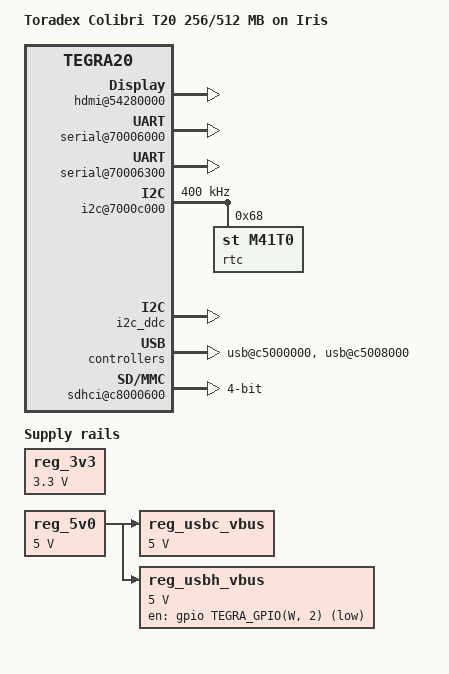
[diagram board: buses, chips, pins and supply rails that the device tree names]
// SPDX-License-Identifier: GPL-2.0
/dts-v1/;

#include "tegra20-colibri.dtsi"

/ {
	model = "Toradex Colibri T20 256/512 MB on Iris";
	compatible = "toradex,iris", "toradex,colibri_t20-512", "nvidia,tegra20";

	aliases {
		rtc0 = "/i2c@7000c000/rtc@68";
		rtc1 = "/i2c@7000d000/tps6586x@34";
		rtc2 = "/rtc@7000e000";
		serial0 = &uarta;
		serial1 = &uartd;
		serial2 = &uartb;
	};

	chosen {
		stdout-path = "serial0:115200n8";
	};

	host1x@50000000 {
		hdmi@54280000 {
			status = "okay";
			hdmi-supply = <&reg_5v0>;
		};
	};

	pinmux@70000014 {
		state_default: pinmux {
			hdint {
				nvidia,tristate = <TEGRA_PIN_DISABLE>;
			};

			i2cddc {
				nvidia,tristate = <TEGRA_PIN_DISABLE>;
			};

			sdio4 {
				nvidia,tristate = <TEGRA_PIN_DISABLE>;
			};

			uarta {
				nvidia,tristate = <TEGRA_PIN_DISABLE>;
			};

			uartd {
				nvidia,tristate = <TEGRA_PIN_DISABLE>;
			};
		};
	};

	serial@70006000 {
		status = "okay";
	};

	serial@70006300 {
		status = "okay";
	};

	/*
	 * GEN1_I2C: I2C_SDA/SCL on SODIMM pin 194/196 (e.g. RTC on carrier
	 * board)
	 */
	i2c@7000c000 {
		status = "okay";
		clock-frequency = <400000>;

		/* M41T0M6 real time clock on carrier board */
		rtc@68 {
			compatible = "st,m41t0";
			reg = <0x68>;
		};
	};

	/* GEN2_I2C: unused */

	/* CAM_I2C (I2C3): unused */

	/* DDC_CLOCK/DATA on X3 pin 15/16 (e.g. display EDID) */
	i2c_ddc: i2c@7000c400 {
		status = "okay";
	};

	usb@c5000000 {
		status = "okay";
	};

	usb-phy@c5000000 {
		status = "okay";
		vbus-supply = <&reg_usbc_vbus>;
	};

	usb@c5008000 {
		status = "okay";
	};

	usb-phy@c5008000 {
		status = "okay";
		vbus-supply = <&reg_usbh_vbus>;
	};

	sdhci@c8000600 {
		status = "okay";
		bus-width = <4>;
		no-1-8-v;
	};

	reg_3v3: regulator-3v3 {
		compatible = "regulator-fixed";
		regulator-name = "3.3V";
		regulator-min-microvolt = <3300000>;
		regulator-max-microvolt = <3300000>;
	};

	reg_5v0: regulator-5v0 {
		compatible = "regulator-fixed";
		regulator-name = "5V";
		regulator-min-microvolt = <5000000>;
		regulator-max-microvolt = <5000000>;
	};

	reg_usbc_vbus: regulator-usbc-vbus {
		compatible = "regulator-fixed";
		regulator-name = "VCC_USB2";
		regulator-min-microvolt = <5000000>;
		regulator-max-microvolt = <5000000>;
		vin-supply = <&reg_5v0>;
	};

	/* USBH_PEN resp. USB_P_EN */
	reg_usbh_vbus: regulator-usbh-vbus {
		compatible = "regulator-fixed";
		regulator-name = "VCC_USB1";
		regulator-min-microvolt = <5000000>;
		regulator-max-microvolt = <5000000>;
		gpio = <&gpio TEGRA_GPIO(W, 2) GPIO_ACTIVE_LOW>;
		vin-supply = <&reg_5v0>;
	};
};
